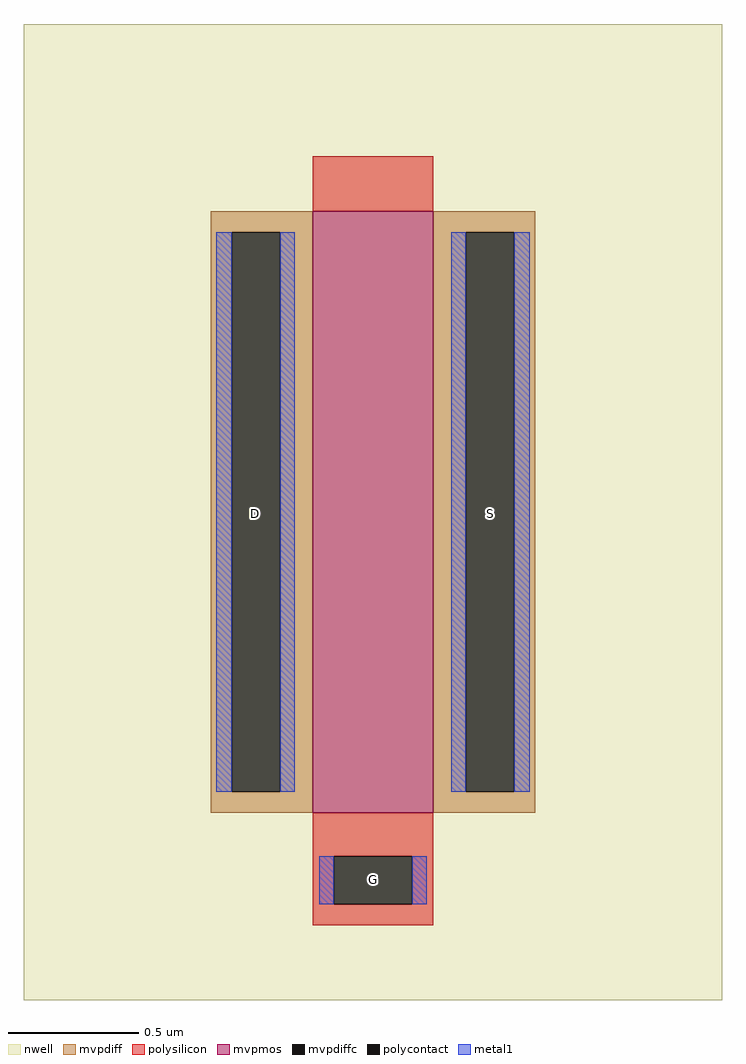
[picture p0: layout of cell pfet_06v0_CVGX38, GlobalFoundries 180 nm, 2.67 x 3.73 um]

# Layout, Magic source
magic
tech gf180mcuD
magscale 1 10
<< nwell >>
rect -267 -351 267 395
<< mvpmos >>
rect -46 -208 46 252
<< mvpdiff >>
rect -124 236 -46 252
rect -124 -192 -108 236
rect -71 -192 -46 236
rect -124 -208 -46 -192
rect 46 236 124 252
rect 46 -192 71 236
rect 108 -192 124 236
rect 46 -208 124 -192
<< mvpdiffc >>
rect -108 -192 -71 236
rect 71 -192 108 236
<< polysilicon >>
rect -46 252 46 294
rect -46 -241 46 -208
rect -46 -278 -30 -241
rect 30 -278 46 -241
rect -46 -294 46 -278
<< polycontact >>
rect -30 -278 30 -241
<< metal1 >>
rect -120 -192 -108 236
rect -71 -192 -60 236
rect 60 -192 71 236
rect 108 -192 120 236
rect -41 -278 -30 -241
rect 30 -278 41 -241
<< labels >>
rlabel mvpdiffc -90 21 -90 21 0 D
port 1 nsew
rlabel mvpdiffc 90 21 90 21 0 S
port 2 nsew
rlabel polycontact 0 -259 0 -259 0 G
port 3 nsew
<< properties >>
string gencell pfet_05v0
string library gf180mcu
string parameters w 2.0 l 0.4 m 1 ng 1 diffcov 100 polycov 100 guard 0 glc 1 grc 1 gtc 1 gbc 1 tbcov 100 rlcov 100 topc 0 botc 1 poverlap 0 doverlap 1 lmin 0.4 wmin 0.15 class mosfet compatible {pfet_05v0 pfet_06v0} full_metal 1 conn_gates 0 gate_ring 0 ccols 1 viasrc 0 viadrn 0 viagate 0 viagb 0 viagr 0 viagl 0 viagt 0 doports 1
<< end >>
